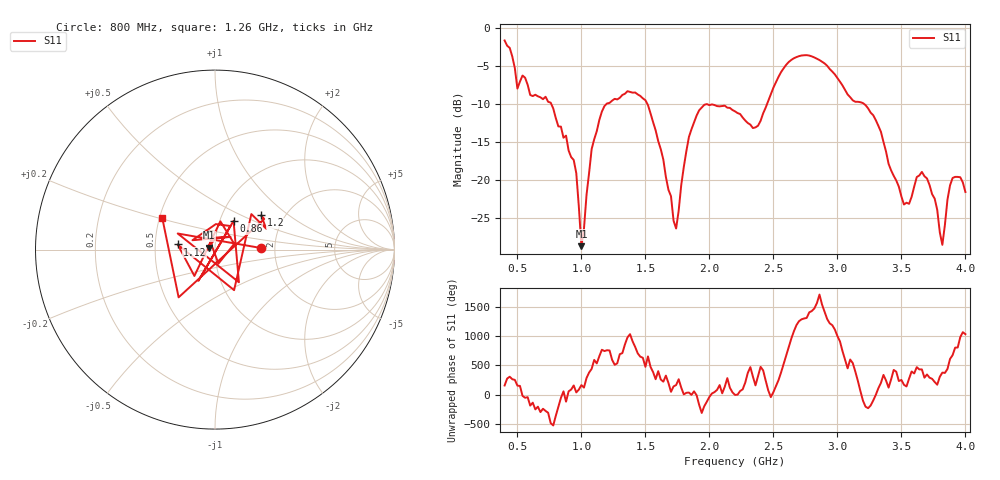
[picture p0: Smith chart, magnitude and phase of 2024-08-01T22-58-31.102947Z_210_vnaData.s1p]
!Created with skrf (http://scikit-rf.org).
# Hz S RI R 50.0
!freq ReS11 ImS11
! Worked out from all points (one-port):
!   181 points, 400 MHz to 4 GHz, reference 50 ohm
!   lowest |S11| = -28.6 dB at 1 GHz (marker M1), VSWR 1.08, Z = 46.6 + j0.981 ohm
!   |S11| at or under -10 dB: 1.517 GHz to 1.973 GHz (456.3 MHz wide, 26.1 % of centre); 1.984 GHz to 2.45 GHz (465.2 MHz wide, 21 % of centre); 3.212 GHz to end of sweep (the widest 3 of 4)
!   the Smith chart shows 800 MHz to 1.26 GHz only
!   S11 on the Smith chart (normalised r, x): 800 MHz: 1.69, +0.03; 860 MHz: 1.16, +0.39; 1.12 GHz: 0.65, +0.04; 1.2 GHz: 1.53, +0.65; 1.26 GHz: 0.52, +0.21
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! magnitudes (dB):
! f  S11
! 400 MHz  -1.6
! 500 MHz  -7.9
! 540 MHz  -6.2
! 800 MHz  -11.8
! 860 MHz  -14.4
! 960 MHz  -19.1
! 1 GHz  -28.6
! 1.08 GHz  -15.9
! 1.12 GHz  -13.5
! 1.2 GHz  -9.9
! 1.26 GHz  -9.3
! 1.3 GHz  -9.1
! 1.52 GHz  -10.1
! 1.72 GHz  -25.3
! 1.76 GHz  -24.0
! 1.84 GHz  -14.3
! 1.92 GHz  -10.8
! 2.2 GHz  -10.9
! 2.38 GHz  -12.8
! 2.66 GHz  -3.9
! 3.1 GHz  -9.1
! 3.28 GHz  -11.4
! 3.56 GHz  -23.1
! 3.66 GHz  -18.9
! 3.76 GHz  -22.4
! 3.82 GHz  -28.5
! 3.9 GHz  -19.7
! 4 GHz  -21.5
